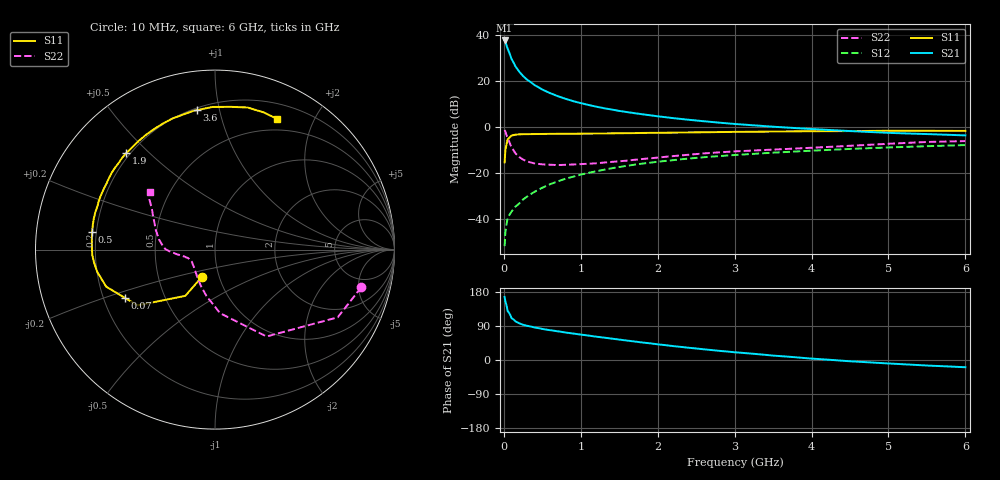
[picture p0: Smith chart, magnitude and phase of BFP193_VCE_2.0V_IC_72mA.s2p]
! Infineon Technologies  Discrete & RF Semiconductors
! BFP193
! VCE =  2.0 V,  IC =  72 mA
! Common Emitter S-Parameters:  Jan 2017
# GHz  S  MA  R  50
!  f  S11  S21  S12  S22
! GHz  MAG  ANG  MAG  ANG  MAG  ANG  MAG  ANG
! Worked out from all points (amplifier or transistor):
!   77 points, 10 MHz to 6 GHz, reference 50 ohm
!   highest |S21| = 37.5 dB at 10 MHz (marker M1)
!   |S21| within 3 dB of that: start of sweep to 43.2 MHz
!   unconditionally stable (mu >= 1): 294.3 MHz to 2.647 GHz
!   at 130 MHz: K = 0.77, MSG = 31.6 dB, |S12| = -35.7 dB
!   at 2.2 GHz: K = 1.02, MAG = 8.2 dB, |S12| = -14.6 dB
!   at 6 GHz: K = 0.97, MSG = 2.1 dB, |S12| = -8.0 dB
!   S11 on the Smith chart (normalised r, x): 10 MHz: 0.83, -0.26; 70 MHz: 0.29, -0.23; 500 MHz: 0.18, +0.07; 1.9 GHz: 0.18, +0.43; 3.6 GHz: 0.21, +0.86; 6 GHz: 0.36, +1.52
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0.01  0.1663 -115.5  74.94 166.4  0.0025 81.1  0.8413 -14.5
0.02  0.3062 -122.7  70.19 154.3  0.005 69.0  0.781 -28.9
0.05  0.5325 -144.3  49.3 128.9  0.0102 59.3  0.563 -59.3
0.07  0.5695 -151.8  40.98 123.6  0.0118 59.4  0.4697 -67.0
0.1  0.6405 -161.2  29.59 110.4  0.0141 59.5  0.3556 -85.4
0.15  0.6675 -169.2  20.57 102.1  0.0181 60.5  0.2634 -100.3
0.2  0.6774 -173.8  15.67 96.9  0.0212 65.3  0.2178 -111.1
0.25  0.6845 -177.5  12.61 93.0  0.026 65.8  0.1916 -118.9
0.3  0.6855 179.9  10.56 90.4  0.0298 68.9  0.1748 -125.9
0.4  0.6885 175.4  7.986 85.8  0.0382 70.0  0.1579 -135.5
0.5  0.6917 171.7  6.398 82.0  0.0467 70.7  0.1509 -142.4
0.7  0.697 165.6  4.601 75.8  0.0641 70.8  0.1455 -152.0
0.9  0.6984 159.5  3.585 69.8  0.0811 68.9  0.1499 -157.3
1.1  0.7043 154.0  2.96 64.4  0.0986 67.0  0.1557 -161.5
1.5  0.7175 143.1  2.197 53.9  0.132 62.1  0.1759 -167.7
1.9  0.7304 132.6  1.764 44.0  0.1637 56.7  0.2039 -172.0
2.1  0.7352 127.5  1.603 39.2  0.179 53.9  0.2198 -173.9
3.1  0.7693 106.2  1.111 18.8  0.2464 40.4  0.2941 175.2
3.6  0.7836 97.3  0.972 10.2  0.2763 34.4  0.3218 168.2
4.1  0.7949 89.5  0.868 2.4  0.3046 28.2  0.3531 160.0
5.1  0.8111 75.8  0.722 -10.2  0.3563 16.2  0.4307 145.7
6  0.8066 64.7  0.644 -19.1  0.3964 6.0  0.4844 138.4
